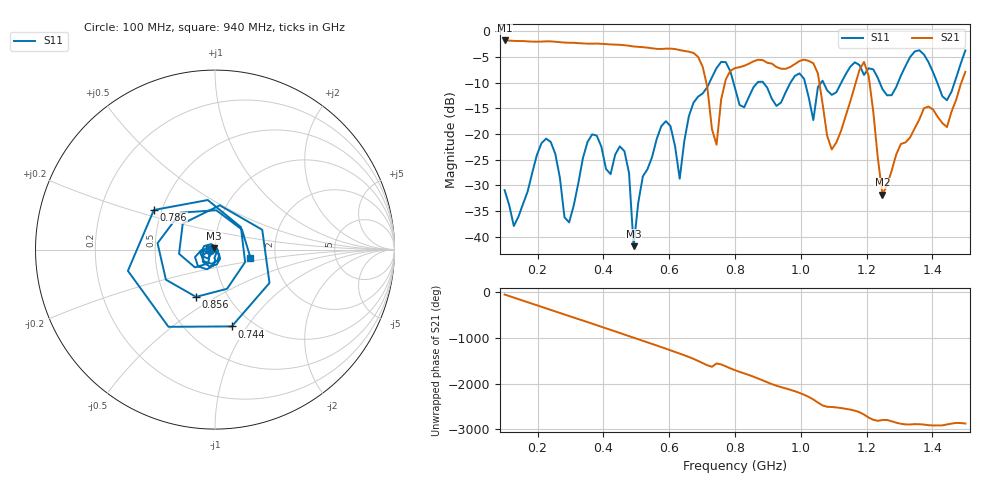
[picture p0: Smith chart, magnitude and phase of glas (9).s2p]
! NanoVNA-App
! Date: 2025-09-25 15:55:33
! Start: 100MHz Stop: 1,5GHz Points: 101
! S-Parameter data: F S11 S21 S12 S22
# Hz S RI R 50
!  Frequency  S11_Real  S11_Imag  S21_Real  S21_Imag  S12_Real  S12_Imag  S22_Real  S22_Imag
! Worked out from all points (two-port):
!   101 points, 100 MHz to 1.5 GHz, reference 50 ohm
!   highest |S21| = -1.80 dB at 100 MHz (marker M1); lowest = -31.8 dB at 1.248 GHz (marker M2)
!   |S21| within 3 dB of the highest: start of sweep to 684.3 MHz
!   lowest |S11| = -41.9 dB at 492 MHz (marker M3), VSWR 1.02, Z = 49.5 + j0.608 ohm
!   |S11| at or under -10 dB: start of sweep to 722.5 MHz; 795.3 MHz to 868.4 MHz (73.02 MHz wide, 8.78 % of centre); 885.9 MHz to 968.8 MHz (82.9 MHz wide, 8.94 % of centre) (the widest 3 of 7)
!   S12 and S22 are empty: the file has one direction only
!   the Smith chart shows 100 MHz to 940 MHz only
!   S11 on the Smith chart (normalised r, x): 100 MHz: 0.95, -0.01; 744 MHz: 0.80, -0.85; 786 MHz: 0.45, +0.24; 856 MHz: 0.71, -0.41; 940 MHz: 1.48, -0.14
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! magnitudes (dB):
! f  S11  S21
! 100 MHz  -31.0  -1.8
! 128 MHz  -38.0  -1.9
! 226 MHz  -20.9  -2.0
! 296 MHz  -37.2  -2.2
! 338 MHz  -24.7  -2.4
! 464 MHz  -23.4  -2.7
! 492 MHz  -41.9  -3.0
! 576 MHz  -18.5  -3.5
! 632 MHz  -28.7  -3.7
! 702 MHz  -12.1  -7.0
! 744 MHz  -7.2  -22.1
! 786 MHz  -7.8  -7.7
! 800 MHz  -11.1  -7.2
! 856 MHz  -10.9  -5.9
! 940 MHz  -13.9  -7.3
! 996 MHz  -8.2  -5.8
! 1.038 GHz  -17.3  -6.2
! 1.094 GHz  -12.4  -23.0
! 1.192 GHz  -8.5  -6.0
! 1.248 GHz  -11.3  -31.8
! 1.276 GHz  -12.5  -27.2
! 1.5 GHz  -3.7  -7.9
